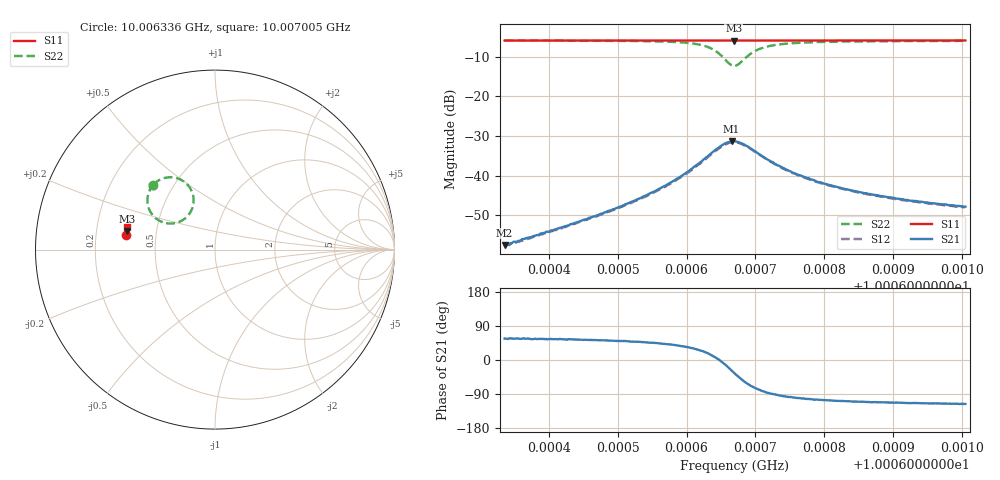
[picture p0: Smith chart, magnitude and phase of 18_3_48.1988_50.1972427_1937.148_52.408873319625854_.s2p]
#  HZ  S  RI  R  50.00
! Rohde & Schwarz Vector Network Analyzer
! Rohde-Schwarz,ZNB20-2Port,1311601062101988,3.16
! Created: UTC 3/20/2024, 11:36:51 AM
! freq[Hz]  re:S11  im:S11  re:S21  im:S21  re:S12  im:S12  re:S22  im:S22
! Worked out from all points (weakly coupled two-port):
!   401 points, 10.006336 GHz to 10.007005 GHz, reference 50 ohm
!   highest |S21| = -31.35 dB at 10.006665 GHz (marker M1); lowest = -57.5 dB at 10.006336 GHz (marker M2)
!   lowest |S11| = -6.0 dB at 10.006669 GHz (marker M3), VSWR 3.00, Z = 16.8 + j4.68 ohm
!   |S11| at or under -10 dB: nowhere
!   |S22| runs from -12.4 to -6.0 dB; largest |S21 - S12| = 0.0021
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1.00063358e10  -0.4953 0.0837  0.00074 0.00112  0.000661 0.00115  -0.3449 0.3623
1.00063558e10  -0.4951 0.0851  0.000835 0.00126  0.000752 0.00127  -0.3429 0.3645
1.00064479e10  -0.4942 0.0912  0.00162 0.0022  0.00148 0.00218  -0.3293 0.3755
1.00065064e10  -0.4934 0.095  0.00266 0.0032  0.00247 0.00323  -0.3143 0.3854
1.000656e10  -0.4927 0.0988  0.00489 0.00471  0.00454 0.00484  -0.2876 0.397
1.00065984e10  -0.4918 0.1015  0.00879 0.00613  0.00825 0.00635  -0.2464 0.4031
1.00066269e10  -0.4909 0.1034  0.0153 0.0058  0.0146 0.00635  -0.1846 0.3864
1.00066403e10  -0.4901 0.1042  0.0203 0.00313  0.0193 0.00412  -0.1451 0.3517
1.0006652e10  -0.4895 0.1043  0.0242 -0.00247  0.0235 -0.00111  -0.1203 0.2918
1.00066654e10  -0.4891 0.1042  0.024 -0.0126  0.024 -0.0107  -0.142 0.2007
1.00066687e10  -0.489 0.1042  0.0225 -0.015  0.0229 -0.013  -0.1586 0.1814
1.00066704e10  -0.4893 0.1042  0.0218 -0.016  0.0223 -0.0141  -0.1681 0.1728
1.00066754e10  -0.4893 0.1042  0.0189 -0.0186  0.0197 -0.0168  -0.2002 0.1543
1.00066854e10  -0.4898 0.1044  0.0124 -0.0207  0.0136 -0.0195  -0.2649 0.1463
1.00066988e10  -0.4903 0.1053  0.00583 -0.0195  0.00695 -0.0188  -0.3256 0.1712
1.00067122e10  -0.4905 0.1062  0.00212 -0.017  0.00301 -0.0166  -0.3565 0.2046
1.00067407e10  -0.4907 0.1085  -0.00121 -0.0123  -0.000424 -0.0122  -0.3755 0.2572
1.00067574e10  -0.4907 0.1096  -0.00174 -0.0105  -0.00127 -0.0105  -0.3766 0.2769
1.00067825e10  -0.4904 0.1113  -0.00205 -0.00865  -0.00171 -0.00864  -0.3746 0.2971
1.00068344e10  -0.4899 0.1149  -0.00215 -0.0063  -0.00183 -0.00626  -0.3675 0.3217
1.00068946e10  -0.4891 0.1188  -0.00205 -0.00492  -0.00176 -0.00493  -0.3601 0.3371
1.0007005e10  -0.4876 0.126  -0.00178 -0.00366  -0.00159 -0.00366  -0.3497 0.3538
